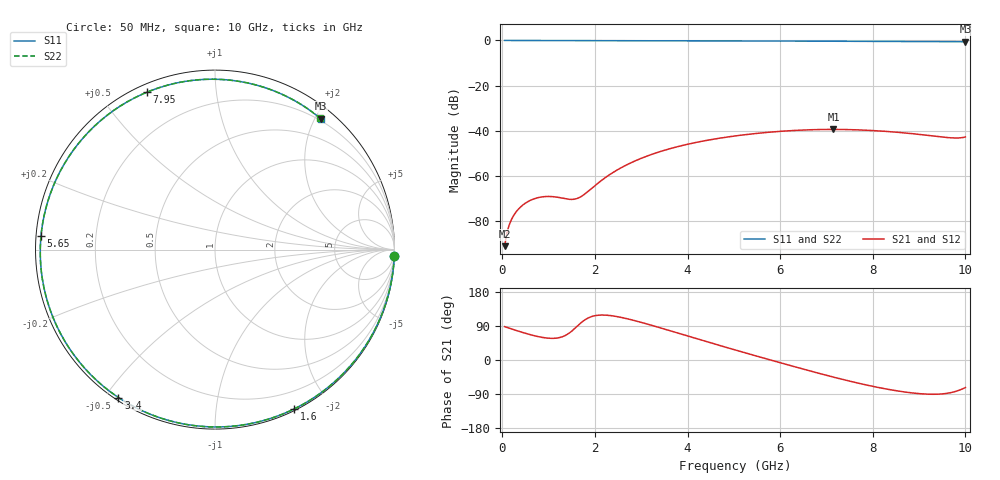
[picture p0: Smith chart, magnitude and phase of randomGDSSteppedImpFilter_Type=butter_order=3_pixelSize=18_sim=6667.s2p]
! freq	dB(S11)	phase(S11)	dB(S12)	phase(S12)
!  dB(S21)	phase(S21)	dB(S22)	phase(S22)
!S-par simulation data
#  GHz  S  DB  R 50
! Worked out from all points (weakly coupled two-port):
!   200 points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, 50 MHz to 10 GHz, reference 50 ohm
!   highest |S21| = -39.45 dB at 7.15 GHz (marker M1); lowest = -91.2 dB at 50 MHz (marker M2)
!   lowest |S11| = -0.6 dB at 10 GHz (marker M3), VSWR 31.00, Z = 8.62 + j104 ohm
!   |S11| at or under -10 dB: nowhere
!   |S22| runs from -0.6 to 0.0 dB; largest |S21 - S12| = 0
!   S11 on the Smith chart (normalised r, x): 50 MHz: 0, -55; 1.6 GHz: 0.02, -1.61; 3.4 GHz: 0.01, -0.54; 5.65 GHz: 0.01, +0.04; 7.95 GHz: 0.03, +0.66; 10 GHz: 0.17, +2.08
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0.05  -0.00 -2.1  -91.22 88.0  -91.22 88.0  -0.00 -2.1
0.2  -0.01 -8.3  -79.31 81.9  -79.31 81.9  -0.01 -8.3
0.3  -0.02 -12.4  -75.97 78.0  -75.97 78.0  -0.02 -12.4
0.4  -0.02 -16.5  -73.73 74.1  -73.73 74.1  -0.02 -16.5
0.7  -0.04 -28.7  -70.13 63.8  -70.13 63.8  -0.04 -28.7
1  -0.05 -40.7  -69.17 57.5  -69.17 57.5  -0.05 -40.6
1.6  -0.08 -63.6  -70.17 87.2  -70.17 87.2  -0.08 -63.5
1.75  -0.08 -69.1  -68.56 103.1  -68.56 103.1  -0.08 -69.0
2.2  -0.10 -84.9  -61.19 118.6  -61.19 118.6  -0.10 -84.9
2.5  -0.11 -95.0  -57.21 114.0  -57.21 114.0  -0.11 -95.0
2.9  -0.12 -107.9  -53.12 102.6  -53.12 102.6  -0.12 -107.9
3.4  -0.14 -123.1  -49.33 85.3  -49.33 85.3  -0.14 -123.1
4.25  -0.17 -147.3  -44.95 54.3  -44.95 54.3  -0.17 -147.3
5.05  -0.21 -168.8  -42.28 25.7  -42.28 25.7  -0.21 -168.8
5.65  -0.24 175.4  -40.90 4.8  -40.90 4.8  -0.24 175.5
6.7  -0.31 147.8  -39.57 -30.7  -39.57 -30.7  -0.31 147.9
7.15  -0.34 135.7  -39.45 -45.1  -39.45 -45.1  -0.34 135.8
7.95  -0.40 113.4  -39.90 -68.3  -39.90 -68.3  -0.40 113.5
8.35  -0.42 101.8  -40.42 -77.8  -40.42 -77.8  -0.42 101.9
9.15  -0.49 77.7  -42.00 -90.0  -42.00 -90.0  -0.48 77.8
9.75  -0.54 59.0  -43.24 -84.3  -43.24 -84.3  -0.54 59.2
10  -0.56 51.2  -42.80 -72.8  -42.80 -72.8  -0.56 51.3
